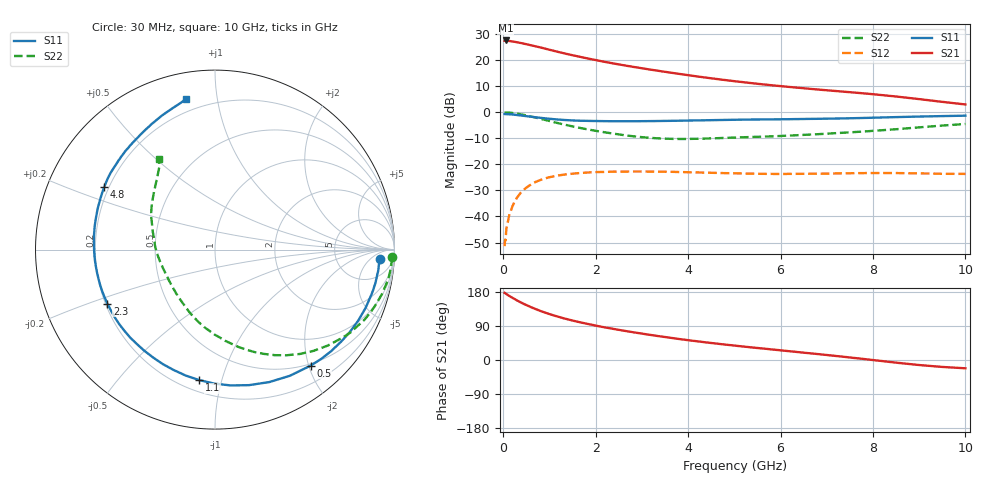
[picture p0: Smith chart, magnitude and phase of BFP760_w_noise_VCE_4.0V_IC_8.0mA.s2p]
! Infineon Technologies  Discrete & RF Semiconductors
! BFP760
! VCE =  4.0 V,  IC =  8.0 mA
! Common Emitter S-Parameters:  Nov 2012
# GHz  S  MA  R  50
!  f  S11  S21  S12  S22
! GHz  MAG  ANG  MAG  ANG  MAG  ANG  MAG  ANG
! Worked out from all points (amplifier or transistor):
!   99 points, 30 MHz to 10 GHz, reference 50 ohm
!   highest |S21| = 27.5 dB at 50 MHz (marker M1)
!   |S21| within 3 dB of that: start of sweep to 877.4 MHz
!   unconditionally stable (mu >= 1): 5.669 GHz to end of sweep
!   at 350 MHz: K = 0.13, MSG = 29.1 dB, |S12| = -31.5 dB
!   at 3.5 GHz: K = 0.62, MSG = 19.2 dB, |S12| = -22.9 dB
!   at 10 GHz: K = 1.20, MAG = 10.6 dB, |S12| = -23.7 dB
!   lowest NFmin = 0.46 dB at 900 MHz
!   S11 on the Smith chart (normalised r, x): 30 MHz: 16, -11; 500 MHz: 0.47, -2.04; 1.1 GHz: 0.27, -0.85; 2.3 GHz: 0.21, -0.23; 4.8 GHz: 0.18, +0.26; 10 GHz: 0.13, +0.82
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0.03  0.9203 -3.3  23.32 177.2  0.0027 72.0  0.9892 -2.5
0.05  0.9167 -5.4  23.64 175.3  0.0035 75.6  0.9866 -3.8
0.15  0.9069 -16.1  22.97 167.7  0.0117 77.7  0.9736 -11.3
0.3  0.8805 -31.5  21.83 157.1  0.0231 70.6  0.9353 -21.8
0.4  0.8596 -41.2  20.98 150.8  0.0299 65.5  0.9 -28.4
0.5  0.8381 -50.4  20.04 145.0  0.0357 60.9  0.8637 -34.6
0.6  0.8175 -59.3  19.14 139.5  0.0411 56.3  0.8251 -40.4
0.8  0.7786 -75.9  17.41 129.7  0.0499 48.6  0.7493 -50.9
1  0.747 -90.2  15.69 121.2  0.0566 41.7  0.6764 -60.4
1.1  0.7323 -96.9  14.93 117.4  0.0589 38.7  0.6417 -64.9
1.4  0.7011 -114.5  12.88 107.2  0.0648 31.3  0.5577 -76.5
1.7  0.6828 -129.6  11.28 98.5  0.0685 25.6  0.4902 -86.9
2.1  0.6739 -146.1  9.55 88.3  0.0713 19.2  0.4243 -100.4
2.3  0.6707 -153.3  8.842 83.9  0.072 16.7  0.3974 -106.6
2.8  0.6697 -169.0  7.408 73.5  0.0728 11.4  0.3457 -122.0
3.4  0.6769 175.3  6.111 62.3  0.0722 6.6  0.3131 -140.8
4  0.6893 162.7  5.112 52.3  0.0705 3.3  0.3063 -157.9
4.8  0.7092 150.3  4.119 40.7  0.0678 0.9  0.3206 -174.4
5.1  0.7163 146.8  3.83 36.8  0.067 0.5  0.328 -179.3
6.7  0.7433 131.7  2.766 17.0  0.066 1.1  0.3739 159.5
8.5  0.8033 111.6  1.994 -7.0  0.068 -1.8  0.4702 136.1
10  0.8554 100.8  1.404 -21.9  0.0655 -1.6  0.5935 121.6
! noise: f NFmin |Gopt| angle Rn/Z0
0.9  0.46  0.29  26  0.1
1.8  0.52  0.23  54  0.09
2.4  0.57  0.18  81  0.09
3.5  0.75  0.16  119  0.08
5.5  0.95  0.3  -146  0.08
8  1.43  0.42  -98  0.24
